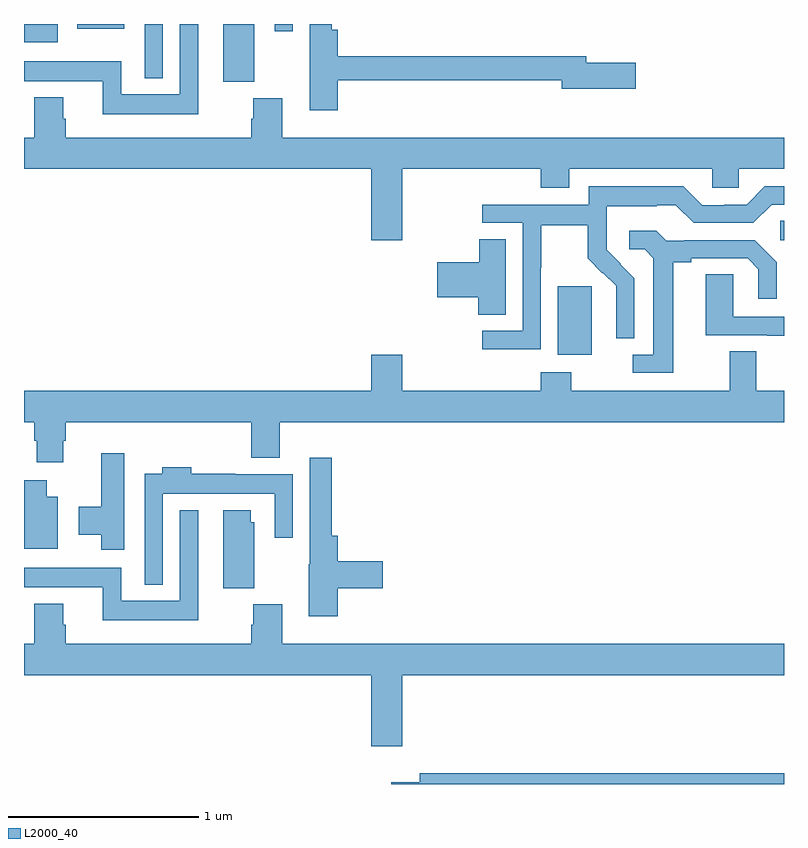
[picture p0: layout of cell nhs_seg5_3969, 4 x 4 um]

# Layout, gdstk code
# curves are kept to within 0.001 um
import gdstk
lib = gdstk.Library(unit=1e-6, precision=1e-09)
def R(c, l, rs):  # rectangles x0, y0, x1, y1
    for r in rs: c.add(gdstk.rectangle(r[:2], r[2:], *l))
def P(c, l, *ps):  # polygons
    for p in ps: c.add(gdstk.Polygon(p, *l))
L2000_40 = (2000, 40)

nhs_seg5_3969 = lib.new_cell('nhs_seg5_3969')
R(nhs_seg5_3969, L2000_40, [(345.809,913.058,345.988,913.419), (346.98,913.662,347,913.763), (344.048,914.494,344.212,914.799), (343.635,914.513,343.731,914.799), (343,914.702,343.177,914.799), (344.319,914.76,344.415,914.799), (343.281,914.774,343.528,914.799)])
P(nhs_seg5_3969, L2000_40, [(344.651,914.502),(345.83,914.502),(345.83,914.459),(346.219,914.459),(346.219,914.594),(345.958,914.594),(345.958,914.63),(344.651,914.63),(344.651,914.77),(344.621,914.77),(344.621,914.799),(344.505,914.799),(344.505,914.607),(344.504,914.607),(344.504,914.346),(344.651,914.346)],
  [(343.918,914.799),(343.821,914.799),(343.821,914.428),(343.512,914.428),(343.512,914.602),(343,914.602),(343,914.498),(343.415,914.498),(343.415,914.324),(343.918,914.324)],
  [(344.992,914.036),(345.719,914.036),(345.719,913.937),(345.871,913.937),(345.871,914.036),(346.623,914.036),(346.623,913.938),(346.761,913.938),(346.761,914.036),(347,914.036),(347,914.2),(344.36,914.2),(344.36,914.409),(344.207,914.409),(344.207,914.3),(344.195,914.3),(344.195,914.2),(343.22,914.2),(343.22,914.301),(343.207,914.301),(343.207,914.413),(343.055,914.413),(343.055,914.2),(343,914.2),(343,914.036),(344.828,914.036),(344.828,913.662),(344.992,913.662)],
  [(345.72,913.516),(345.723,913.516),(345.723,913.74),(345.967,913.74),(345.967,913.565),(346.044,913.488),(346.047,913.491),(346.118,913.421),(346.118,913.298),(346.116,913.298),(346.116,913.144),(346.212,913.144),(346.212,913.462),(346.066,913.61),(346.066,913.707),(346.068,913.707),(346.068,913.841),(346.331,913.841),(346.331,913.845),(346.431,913.845),(346.524,913.752),(346.839,913.752),(346.935,913.848),(347,913.848),(347,913.944),(346.899,913.944),(346.803,913.848),(346.685,913.848),(346.685,913.845),(346.569,913.845),(346.469,913.945),(345.972,913.945),(345.972,913.848),(345.411,913.848),(345.411,913.752),(345.624,913.752),(345.624,913.185),(345.411,913.185),(345.411,913.087),(345.72,913.087)],
  [(346.417,913.544),(346.513,913.544),(346.513,913.566),(346.808,913.566),(346.865,913.509),(346.865,913.353),(346.962,913.353),(346.962,913.546),(346.846,913.662),(346.474,913.662),(346.474,913.659),(346.38,913.659),(346.328,913.711),(346.185,913.711),(346.185,913.614),(346.266,913.614),(346.313,913.567),(346.313,913.059),(346.203,913.059),(346.203,912.963),(346.417,912.963)],
  [(345.535,913.667),(345.397,913.667),(345.397,913.544),(345.174,913.544),(345.174,913.361),(345.392,913.361),(345.392,913.27),(345.535,913.27)],
  [(347,913.257),(346.734,913.257),(346.734,913.481),(346.589,913.481),(346.589,913.161),(346.913,913.161),(346.913,913.157),(347,913.157)],
  [(343.207,912.606),(343.22,912.606),(343.22,912.704),(344.195,912.704),(344.195,912.515),(344.347,912.515),(344.347,912.704),(347,912.704),(347,912.868),(346.855,912.868),(346.855,913.076),(346.715,913.076),(346.715,912.868),(345.879,912.868),(345.879,912.967),(345.719,912.967),(345.719,912.868),(344.992,912.868),(344.992,913.057),(344.828,913.057),(344.828,912.868),(343,912.868),(343,912.704),(343.055,912.704),(343.055,912.606),(343.067,912.606),(343.067,912.492),(343.207,912.492)],
  [(343.528,912.541),(343.406,912.541),(343.406,912.258),(343.289,912.258),(343.289,912.11),(343.406,912.11),(343.406,912.033),(343.528,912.033)],
  [(344.651,911.83),(344.887,911.83),(344.887,911.972),(344.651,911.972),(344.651,912.106),(344.621,912.106),(344.621,912.517),(344.505,912.517),(344.505,911.955),(344.498,911.955),(344.498,911.682),(344.651,911.682)],
  [(343.731,912.326),(344.319,912.326),(344.319,912.096),(344.415,912.096),(344.415,912.43),(344.111,912.43),(344.111,912.433),(343.88,912.433),(343.88,912.466),(343.727,912.466),(343.727,912.433),(343.635,912.433),(343.635,911.849),(343.731,911.849)],
  [(343.177,912.31),(343.12,912.31),(343.12,912.397),(343,912.397),(343,912.038),(343.177,912.038)],
  [(343.918,912.241),(343.821,912.241),(343.821,911.764),(343.512,911.764),(343.512,911.938),(343,911.938),(343,911.834),(343.415,911.834),(343.415,911.66),(343.918,911.66)],
  [(344.212,912.177),(344.194,912.177),(344.194,912.241),(344.048,912.241),(344.048,911.83),(344.212,911.83)],
  [(344.992,911.372),(347,911.372),(347,911.536),(344.36,911.536),(344.36,911.745),(344.207,911.745),(344.207,911.636),(344.195,911.636),(344.195,911.536),(343.22,911.536),(343.22,911.637),(343.207,911.637),(343.207,911.749),(343.055,911.749),(343.055,911.536),(343,911.536),(343,911.372),(344.828,911.372),(344.828,910.998),(344.992,910.998)],
  [(347,910.856),(345.083,910.856),(345.083,910.807),(344.934,910.807),(344.934,910.799),(347,910.799)])

lib.write_gds('nhs_seg5_3969.gds')
